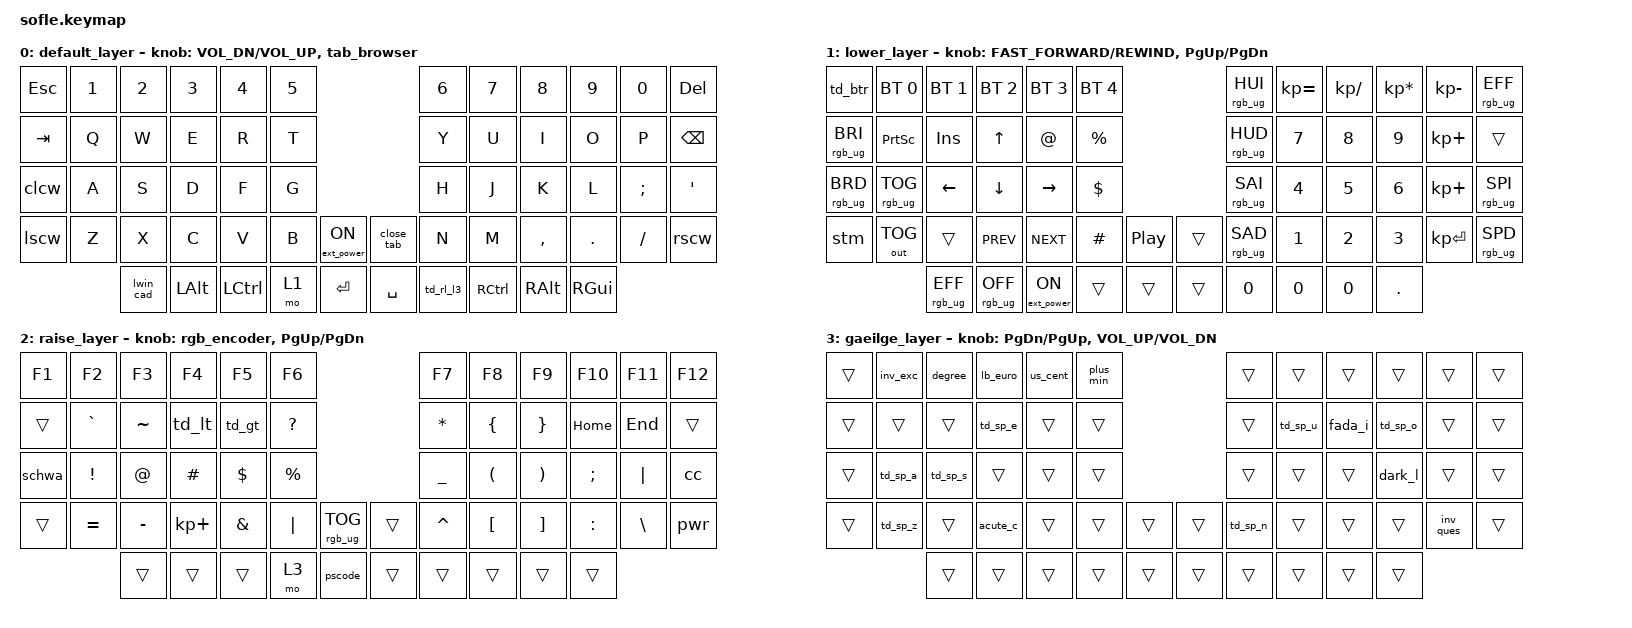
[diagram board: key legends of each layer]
/*
 * Copyright (c) 2020 The ZMK Contributors
 *
 * SPDX-License-Identifier: MIT
 */

#include <behaviors.dtsi>
#include <dt-bindings/zmk/bt.h>
#include <dt-bindings/zmk/ext_power.h>
#include <dt-bindings/zmk/keys.h>
#include <dt-bindings/zmk/outputs.h>
#include <dt-bindings/zmk/rgb.h>

//Encoder Support
//Alps Alpine EC11N1524402: 30 Detent, 15PPR, 2 Channel, Quadrature, 15000 Cycle

/
&led_strip {
    chain-length = <21>;
};
{
    left_encoder: encoder_left {
        compatible = "alps,ec11";
        label = "LEFT_ENCODER";
        a-gpios = <&pro_micro 21 (GPIO_ACTIVE_HIGH | GPIO_PULL_UP)>;
        b-gpios = <&pro_micro 20 (GPIO_ACTIVE_HIGH | GPIO_PULL_UP)>;
        steps = <60>;
    };

    right_encoder: encoder_right {
        compatible = "alps,ec11";
        label = "RIGHT_ENCODER";
        a-gpios = <&pro_micro 21 (GPIO_ACTIVE_HIGH | GPIO_PULL_UP)>;
        b-gpios = <&pro_micro 20 (GPIO_ACTIVE_HIGH | GPIO_PULL_UP)>;
        steps = <60>;
    };

    sensors {
        compatible = "zmk,keymap-sensors";
        sensors = <&left_encoder &right_encoder>;
        triggers-per-rotation = <30>;
    };
};

/ {
    macros {
        // System and Power

        tm: tm {
            label = "TASK_MANAGER";
            compatible = "zmk,behavior-macro";
            #binding-cells = <0>;
            bindings =
                <&macro_press>,
                <&kp LCTRL &kp LSHFT>,
                <&macro_tap>,
                <&kp ESC>,
                <&macro_release>,
                <&kp LCTRL &kp LSHFT>;
        };

        cad: cad {
            label = "CTRL_ALT_DEL";
            compatible = "zmk,behavior-macro";
            #binding-cells = <0>;
            bindings =
                <&macro_press>,
                <&kp LCTRL &kp LALT &kp DEL>,
                <&macro_release>,
                <&kp LCTRL &kp LALT &kp DEL>;
        };

        slp: slp {
            label = "SLEEP";
            compatible = "zmk,behavior-macro";
            #binding-cells = <0>;
            bindings =
                <&macro_press>,
                <&kp LGUI>,
                <&macro_tap>,
                <&kp X>,
                <&macro_release>,
                <&kp LGUI>,
                <&macro_tap>,
                <&kp U &kp S>;
        };

        rst: rst {
            label = "RESTART";
            compatible = "zmk,behavior-macro";
            #binding-cells = <0>;
            bindings =
                <&macro_press>,
                <&kp LGUI>,
                <&macro_tap>,
                <&kp X>,
                <&macro_release>,
                <&kp LGUI>,
                <&macro_tap>,
                <&kp U &kp R>;
        };

        off: off {
            label = "SHUTDOWN";
            compatible = "zmk,behavior-macro";
            #binding-cells = <0>;
            bindings =
                <&macro_press>,
                <&kp LGUI>,
                <&macro_tap>,
                <&kp X>,
                <&macro_release>,
                <&kp LGUI>,
                <&macro_tap>,
                <&kp U &kp U>;
        };

        // Microphones

        teams_mute: teams_mute {
            label = "TEAMS_MUTE";
            compatible = "zmk,behavior-macro";
            #binding-cells = <0>;
            tap-ms = <0>;
            wait-ms = <0>;
            bindings =
                <&macro_tap>,
                <&bt BT_SEL 1>,
                <&macro_wait_time 100>,
                <&macro_press>,
                <&kp LGUI>,
                <&macro_tap>,
                <&kp N3>,
                <&macro_release>,
                <&kp LGUI>,
                <&macro_wait_time 50>,
                <&macro_press>,
                <&kp LCTRL &kp LSHFT>,
                <&macro_tap>,
                <&kp M>,
                <&macro_release>,
                <&kp LCTRL &kp LSHFT>;
        };

        // Browser Controls

        tab_right: tab_right {
            label = "TAB_RIGHT";
            compatible = "zmk,behavior-macro";
            #binding-cells = <0>;
            wait-ms = <0>;
            tap-ms = <0>;
            bindings =
                <&macro_press>,
                <&kp LCTRL>,
                <&macro_tap>,
                <&kp TAB>,
                <&macro_release>,
                <&kp LCTRL>;
        };

        tab_left: tab_left {
            label = "TAB_LEFT";
            compatible = "zmk,behavior-macro";
            #binding-cells = <0>;
            wait-ms = <0>;
            tap-ms = <0>;
            bindings =
                <&macro_press>,
                <&kp LCTRL &kp LSHFT>,
                <&macro_tap>,
                <&kp TAB>,
                <&macro_release>,
                <&kp LCTRL &kp LSHFT>;
        };

        close_tab: close_tab {
            label = "CLOSE_TAB";
            compatible = "zmk,behavior-macro";
            #binding-cells = <0>;
            wait-ms = <0>;
            tap-ms = <0>;
            bindings =
                <&macro_press>,
                <&kp LCTRL>,
                <&macro_tap>,
                <&kp W>,
                <&macro_release>,
                <&kp LCTRL>;
        };

       
// Mod Morphs, Encoder, Tap-Dances

/ {
    behaviors {
        // Mod Morph
        // RGB

        rgb_bri_sat_inc: rgb_bri_sat_inc {
            compatible = "zmk,behavior-mod-morph";
            label = "RGB_BRIGHTNESS_SATURATION_INCREASE";
            #binding-cells = <0>;
            bindings = <&rgb_ug RGB_SAI>, <&rgb_ug RGB_BRI>;

            mods = <(MOD_LALT|MOD_RALT)>;
        };

        rgb_bri_sat_dec: rgb_bri_sat_dec {
            compatible = "zmk,behavior-mod-morph";
            label = "RGB_BRIGHTNESS_SATURATION_DECREASE";
            #binding-cells = <0>;
            bindings = <&rgb_ug RGB_SAD>, <&rgb_ug RGB_BRD>;

            mods = <(MOD_LALT|MOD_RALT)>;
        };

        rgb_inc: rgb_inc {
            compatible = "zmk,behavior-mod-morph";
            label = "RGB_INCREASE";
            #binding-cells = <0>;
            bindings = <&rgb_ug RGB_HUI>, <&rgb_bri_sat_inc>;

            mods = <(MOD_LSFT|MOD_RSFT|MOD_LCTL|MOD_RCTL)>;
        };

        rgb_dec: rgb_dec {
            compatible = "zmk,behavior-mod-morph";
            label = "RGB_DECREASE";
            #binding-cells = <0>;
            bindings = <&rgb_ug RGB_HUD>, <&rgb_bri_sat_dec>;

            mods = <(MOD_LSFT|MOD_RSFT)>;
        };

        // System Functions  

        ret_menu: ret_menu {
            compatible = "zmk,behavior-mod-morph";
            label = "RETURN_MENU";
            #binding-cells = <0>;
            bindings = <&kp RET>, <&kp K_APPLICATION>;

            mods = <(MOD_LSFT|MOD_RSFT)>;
        };

        // Special Characters - Capitalizations

        fada_a: fada_a {
            compatible = "zmk,behavior-mod-morph";
            label = "FADA_A";
            #binding-cells = <0>;
            bindings = <&smfada_a>, <&lfada_a>;

            mods = <(MOD_LSFT|MOD_RSFT)>;
        };

        ogonek_a: ogonek_a {
            compatible = "zmk,behavior-mod-morph";
            label = "OGONEK_A";
            #binding-cells = <0>;
            bindings = <&smogo_a>, <&logo_a>;

            mods = <(MOD_LSFT|MOD_RSFT)>;
        };

        umlaut_a: umlaut_a {
            compatible = "zmk,behavior-mod-morph";
            label = "UMLAUT_A";
            #binding-cells = <0>;
            bindings = <&smumlaut_a>, <&lumlaut_a>;

            mods = <(MOD_LSFT|MOD_RSFT)>;
        };

        fada_e: fada_e {
            compatible = "zmk,behavior-mod-morph";
            label = "FADA_E";
            #binding-cells = <0>;
            bindings = <&smfada_e>, <&lfada_e>;

            mods = <(MOD_LSFT|MOD_RSFT)>;
        };

        ogonek_e: ogonek_e {
            compatible = "zmk,behavior-mod-morph";
            label = "OGONEK_E";
            #binding-cells = <0>;
            bindings = <&smogo_e>, <&logo_e>;

            mods = <(MOD_LSFT|MOD_RSFT)>;
        };

        fada_i: fada_i {
            compatible = "zmk,behavior-mod-morph";
            label = "FADA_I";
            #binding-cells = <0>;
            bindings = <&smfada_i>, <&lfada_i>;

            mods = <(MOD_LSFT|MOD_RSFT)>;
        };

        fada_o: fada_o {
            compatible = "zmk,behavior-mod-morph";
            label = "FADA_O";
            #binding-cells = <0>;
            bindings = <&smfada_o>, <&lfada_o>;

            mods = <(MOD_LSFT|MOD_RSFT)>;
        };

        umlaut_o: umlaut_o {
            compatible = "zmk,behavior-mod-morph";
            label = "UMLAUT_O";
            #binding-cells = <0>;
            bindings = <&smumlaut_o>, <&lumlaut_o>;

            mods = <(MOD_LSFT|MOD_RSFT)>;
        };

        fada_u: fada_u {
            compatible = "zmk,behavior-mod-morph";
            label = "FADA_U";
            #binding-cells = <0>;
            bindings = <&smfada_u>, <&lfada_u>;

            mods = <(MOD_LSFT|MOD_RSFT)>;
        };

        umlaut_u: umlaut_u {
            compatible = "zmk,behavior-mod-morph";
            label = "UMLAUT_U";
            #binding-cells = <0>;
            bindings = <&smumlaut_u>, <&lumlaut_u>;

            mods = <(MOD_LSFT|MOD_RSFT)>;
        };

        acute_c: acute_c {
            compatible = "zmk,behavior-mod-morph";
            label = "ACUTE_C";
            #binding-cells = <0>;
            bindings = <&smacute_c>, <&lacute_c>;

            mods = <(MOD_LSFT|MOD_RSFT)>;
        };

        dark_l: dark_l {
            compatible = "zmk,behavior-mod-morph";
            label = "DARK_L";
            #binding-cells = <0>;
            bindings = <&smdark_l>, <&ldark_l>;

            mods = <(MOD_LSFT|MOD_RSFT)>;
        };

        acute_n: acute_n {
            compatible = "zmk,behavior-mod-morph";
            label = "ACUTE_N";
            #binding-cells = <0>;
            bindings = <&smacute_n>, <&lacute_n>;

            mods = <(MOD_LSFT|MOD_RSFT)>;
        };

        tilde_n: tilde_n {
            compatible = "zmk,behavior-mod-morph";
            label = "TILDE_N";
            #binding-cells = <0>;
            bindings = <&smtil_n>, <&ltil_n>;

            mods = <(MOD_LSFT|MOD_RSFT)>;
        };

        acute_s: acute_s {
            compatible = "zmk,behavior-mod-morph";
            label = "ACUTE_S";
            #binding-cells = <0>;
            bindings = <&smacute_s>, <&lacute_s>;

            mods = <(MOD_LSFT|MOD_RSFT)>;
        };

        acute_z: acute_z {
            compatible = "zmk,behavior-mod-morph";
            label = "ACUTE_Z";
            #binding-cells = <0>;
            bindings = <&smacute_z>, <&lacute_z>;

            mods = <(MOD_LSFT|MOD_RSFT)>;
        };

        dot_z: dot_z {
            compatible = "zmk,behavior-mod-morph";
            label = "DOT_Z";
            #binding-cells = <0>;
            bindings = <&smdot_z>, <&ldot_z>;

            mods = <(MOD_LSFT|MOD_RSFT)>;
        };

        // Special Characters - Other

        lb_euro: lb_euro {
            compatible = "zmk,behavior-mod-morph";
            label = "POUND_EURO";
            #binding-cells = <0>;
            bindings = <&uk_pnd>, <&euro>;

            mods = <(MOD_LSFT|MOD_RSFT)>;
        };

        // Encoder

        rgb_encoder: rgb_encoder {
            compatible = "zmk,behavior-sensor-rotate";
            label = "RGB_ENCODER";
            #sensor-binding-cells = <0>;
            bindings = <&rgb_inc>, <&rgb_dec>;
        };

        tab_browser: tab_browser {
            compatible = "zmk,behavior-sensor-rotate";
            label = "TAB_BROWSER";
            #sensor-binding-cells = <0>;
            bindings = <&tab_left>, <&tab_right>;
        };

        // Tap Dance

        cc: cc {
            compatible = "zmk,behavior-tap-dance";
            label = "COLOR_CYCLE";
            #binding-cells = <0>;
            tapping-term-ms = <200>;
            bindings =
                <&rgb_ug RGB_COLOR_HSB(0,100,20)>,
                <&rgb_ug RGB_COLOR_HSB(10,100,20)>,
                <&rgb_ug RGB_COLOR_HSB(35,100,20)>,
                <&rgb_ug RGB_COLOR_HSB(120,100,20)>,
                <&rgb_ug RGB_COLOR_HSB(240,100,20)>,
                <&rgb_ug RGB_COLOR_HSB(285,100,20)>;
        };

        clcw: clcw {
            compatible = "zmk,behavior-tap-dance";
            label = "CAPS_LOCK_CAPS_WORD";
            #binding-cells = <0>;
            tapping-term-ms = <200>;
            bindings = <&kp CLCK>, <&caps_word>;
        };

        lscw: lscw {
            compatible = "zmk,behavior-tap-dance";
            label = "LEFT_SHIFT_CAPS_WORD";
            #binding-cells = <0>;
            tapping-term-ms = <200>;
            bindings = <&kp LSHFT>, <&caps_word>;
        };

        rscw: rscw {
            compatible = "zmk,behavior-tap-dance";
            label = "RIGHT_SHIFT_CAPS_WORD";
            #binding-cells = <0>;
            tapping-term-ms = <200>;
            bindings = <&kp RSHFT>, <&caps_word>;
        };

        stm: stm {
            compatible = "zmk,behavior-tap-dance";
            label = "SHIFT_TASK_MANAGER";
            #binding-cells = <0>;
            tapping-term-ms = <200>;
            bindings = <&kp LSHFT>, <&tm>;
        };

        pwr: pwr {
            compatible = "zmk,behavior-tap-dance";
            label = "POWER_COMMANDS";
            #binding-cells = <0>;
            tapping-term-ms = <200>;
            bindings = <&kp RSHFT>, <&slp>, <&rst>, <&off>;
        };

        td_btr: td_btr {
            compatible = "zmk,behavior-tap-dance";
            label = "TAP_DANCE_BLUE_TOOTH_RELEASE";
            #binding-cells = <0>;
            tapping-term-ms = <200>;
            bindings = <&kp ESC>, <&bt BT_CLR>;
        };

        pscode: pscode {
            compatible = "zmk,behavior-tap-dance";
            label = "POWER_SHELL_CODE";
            #binding-cells = <0>;
            tapping-term-ms = <200>;
            bindings = <&kp F5>, <&kp F8>;
        };

        td_ll_l3: td_ll_l3 {
            compatible = "zmk,behavior-tap-dance";
            label = "TAP_LEFT_LAYER_LAYER_3";
            #binding-cells = <0>;
            tapping-term-ms = <200>;
            bindings = <&mo 1>, <&sl 3>;
        };

        td_rl_l3: td_rl_l3 {
            compatible = "zmk,behavior-tap-dance";
            label = "TAP_RIGHT_LAYER_LAYER_3";
            #binding-cells = <0>;
            tapping-term-ms = <200>;
            bindings = <&mo 2>, <&sl 3>;
        };

        td_sp_a: td_sp_a {
            compatible = "zmk,behavior-tap-dance";
            label = "TAP_SPECIAL_A";
            #binding-cells = <0>;
            tapping-term-ms = <250>;
            bindings = <&fada_a>, <&ogonek_a>, <&umlaut_a>;
        };

        td_sp_e: td_sp_e {
            compatible = "zmk,behavior-tap-dance";
            label = "TAP_SPECIAL_E";
            #binding-cells = <0>;
            tapping-term-ms = <250>;
            bindings = <&fada_e>, <&ogonek_e>;
        };

        td_sp_o: td_sp_o {
            compatible = "zmk,behavior-tap-dance";
            label = "TAP_SPECIAL_O";
            #binding-cells = <0>;
            tapping-term-ms = <250>;
            bindings = <&fada_o>, <&umlaut_o>;
        };

        td_sp_u: td_sp_u {
            compatible = "zmk,behavior-tap-dance";
            label = "TAP_SPECIAL_U";
            #binding-cells = <0>;
            tapping-term-ms = <250>;
            bindings = <&fada_u>, <&umlaut_u>;
        };

        td_sp_n: td_sp_n {
            compatible = "zmk,behavior-tap-dance";
            label = "TAP_SPECIAL_N";
            #binding-cells = <0>;
            tapping-term-ms = <250>;
            bindings = <&acute_n>, <&tilde_n>;
        };

        td_sp_s: td_sp_s {
            compatible = "zmk,behavior-tap-dance";
            label = "TAP_SPECIAL_S";
            #binding-cells = <0>;
            tapping-term-ms = <200>;
            bindings = <&acute_s>, <&essette_s>;
        };

        td_sp_z: td_sp_z {
            compatible = "zmk,behavior-tap-dance";
            label = "TAP_SPECIAL_Z";
            #binding-cells = <0>;
            tapping-term-ms = <200>;
            bindings = <&acute_z>, <&dot_z>;
        };

        td_lt: td_lt {
            compatible = "zmk,behavior-tap-dance";
            label = "LESS_THEN_DOUBLE_LEFT_MARKS";
            #binding-cells = <0>;
            tapping-term-ms = <200>;
            bindings = <&kp LT>, <&dbl_left>;
        };

        td_gt: td_gt {
            compatible = "zmk,behavior-tap-dance";
            label = "GREATER_THAN_DOUBLE_RIGHT_MARKS";
            #binding-cells = <0>;
            tapping-term-ms = <200>;
            bindings = <&kp GT>, <&dbl_right>;
        };

        lwin_cad: lwin_cad {
            compatible = "zmk,behavior-tap-dance";
            label = "LEFT_WINDOWS_CTRL_ALT_DEL";
            #binding-cells = <0>;
            tapping-term-ms = <200>;
            bindings = <&kp LGUI>, <&cad>;
        };
    };

    keymap {
        compatible = "zmk,keymap";

        default_layer {
            // ------------------------------------------------------------------------------------------------------------
            // |  ESC  |  1  |  2  |  3   |  4   |  5   |                    |  6   |  7    |  8    |  9   |   0   | DEL   |
            // |  TAB  |  Q  |  W  |  E   |  R   |  T   |                    |  Y   |  U    |  I    |  O   |   P   | BKSPC |
            // | CAPS  |  A  |  S  |  D   |  F   |  G   |                    |  H   |  J    |  K    |  L   |   ;   |   '   |
            // | SHIFT |  Z  |  X  |  C   |  V   |  B   |MUTE SPK|  |ClS  TAB|  N   |  M    |  ,    |  .   |   /   | SHIFT |
            //               | GUI | ALT  | CTRL | LOWER|  ENTER |  | SPACE  | RAISE| CTRL  | ALT   | GUI  |

            bindings = <
&kp ESC  &kp N1  &kp N2     &kp N3    &kp N4     &kp N5                                  &kp N6     &kp N7     &kp N8     &kp N9    &kp N0    &kp DEL
&kp TAB  &kp Q   &kp W      &kp E     &kp R      &kp T                                   &kp Y      &kp U      &kp I      &kp O     &kp P     &kp BSPC
&clcw    &kp A   &kp S      &kp D     &kp F      &kp G                                   &kp H      &kp J      &kp K      &kp L     &kp SEMI  &kp SQT
&lscw    &kp Z   &kp X      &kp C     &kp V      &kp B   &ext_power EP_ON    &close_tab  &kp N      &kp M      &kp COMMA  &kp DOT   &kp FSLH  &rscw
                 &lwin_cad  &kp LALT  &kp LCTRL  &mo 1   &kp ENTER           &kp SPACE   &td_rl_l3  &kp RCTRL  &kp RALT   &kp RGUI
            >;

            sensor-bindings = <&inc_dec_kp C_VOL_DN C_VOL_UP>, <&tab_browser>;
        };

        lower_layer {
            // ------------------------------------------------------------------------------------------------------------
            // |BTCLR| BT1  | BT2  |  BT3  |  BT4  |  BT5 |                | HUE+ |  =  |   /   |   *  |   -   | EFF+ |
            // |BRI+ | PSCR | INS  |   ↑   |   @   |   %  |                | HUE- |  7  |   8   |   9  |   +   | BKSP |
            // |BRI- | RGB  |  ←   |   ↓   |   →   |   $  |                | SAT+ |  4  |   5   |   6  |   +   | SPD+ |
            // |TASK |BT/USB|      |  PREV |  NEXT |   #  |PL/PS |  |      | SAT- |  1  |   2   |   3  | ENTER | SPD- |
            //              |      |       |       |      |      |  |      |  0   |  0  |   0   |   .  |

            bindings = <
&td_btr          &bt BT_SEL 0     &bt BT_SEL 1     &bt BT_SEL 2     &bt BT_SEL 3      &bt BT_SEL 4                              &rgb_ug RGB_HUI  &kp KP_EQUAL  &kp KP_DIVIDE  &kp KP_MULTIPLY  &kp KP_MINUS  &rgb_ug RGB_EFF
&rgb_ug RGB_BRI  &kp PSCRN        &kp INS          &kp UP           &kp AT            &kp PRCNT                                 &rgb_ug RGB_HUD  &kp N7        &kp N8         &kp N9           &kp KP_PLUS   &trans
&rgb_ug RGB_BRD  &rgb_ug RGB_TOG  &kp LEFT         &kp DOWN         &kp RIGHT         &kp DLLR                                  &rgb_ug RGB_SAI  &kp N4        &kp N5         &kp N6           &kp KP_PLUS   &rgb_ug RGB_SPI
&stm             &out OUT_TOG     &trans           &kp C_PREV       &kp C_NEXT        &kp HASH      &kp C_PLAY_PAUSE    &trans  &rgb_ug RGB_SAD  &kp N1        &kp N2         &kp N3           &kp KP_ENTER  &rgb_ug RGB_SPD
                                  &rgb_ug RGB_EFF  &rgb_ug RGB_OFF  &ext_power EP_ON  &trans        &trans              &trans  &kp N0           &kp N0        &kp N0         &kp DOT
            >;

            sensor-bindings = <&inc_dec_kp C_FAST_FORWARD C_REWIND &inc_dec_kp PG_UP PG_DN>;
        };

        raise_layer {
            // TODO: Some binds are waiting for shifted keycode support.
            // ------------------------------------------------------------------------------------------------------------
            // |    F1 |  F2 |  F3 |  F4  |  F5  |  F6  |                   |  F7  |  F8   |  F9   |  F10 |  F11  |  F12  |
            // |       |  `  |  ~  |  <   |  >   |  ?   |                   |  *   |  {    |  }    | HOME |  END  |       |
            // |       |  !  |  @  |  #   |  $   |  %   |                   |  _   |  (    |  )    |  ;   |   |   | COLOR |
            // |       |  =  |  -  |  +   |  &   |  |   |  RGB   |  |       |  ^   |  [    |  ]    |  :   |   \   | POWER |
            //               |     |      |      |      |  CODE  |  |       |      |       |       |      |

            bindings = <
&kp F1  &kp F2     &kp F3     &kp F4       &kp F5    &kp F6                                &kp F7     &kp F8    &kp F9    &kp F10    &kp F11   &kp F12
&trans  &kp GRAVE  &kp TILDE  &td_lt       &td_gt    &kp QMARK                             &kp ASTRK  &kp LBRC  &kp RBRC  &kp HOME   &kp END   &trans
&schwa  &kp EXCL   &kp AT     &kp HASH     &kp DLLR  &kp PRCNT                             &kp UNDER  &kp LPAR  &kp RPAR  &kp SEMI   &kp PIPE  &cc
&trans  &kp EQUAL  &kp MINUS  &kp KP_PLUS  &kp AMPS  &kp PIPE   &rgb_ug RGB_TOG    &trans  &kp CARET  &kp LBKT  &kp RBKT  &kp COLON  &kp BSLH  &pwr
                   &trans     &trans       &trans    &mo 3      &pscode            &trans  &trans     &trans    &trans    &trans
            >;

            sensor-bindings = <&rgb_encoder &inc_dec_kp PG_UP PG_DN>;
        };

        gaeilge_layer {
            // TODO: Some binds are waiting for shifted keycode support.
            // ------------------------------------------------------------------------------------------------------------
            // |       |  ¡  |  °  |  £   |  ¢   |   ±  |                   |      |       |       |      |       |       |
            // |       |     |     |  é   |      |      |                   |      |   ú   |   í   |   ó  |       |       |
            // |       |  á  |  ś  |      |      |      |                   |      |       |       |   ł  |       |       |
            // |       |  ź  |     |  ć   |      |      |        |  |       |  ń   |       |       |      |   ¿   |       |
            //               |     |      |      |      |        |  |       |      |       |       |      |

            bindings = <
&trans  &inv_exc  &degree   &lb_euro  &us_cent  &plus_min                    &trans    &trans    &trans   &trans    &trans     &trans
&trans  &trans    &trans    &td_sp_e  &trans    &trans                       &trans    &td_sp_u  &fada_i  &td_sp_o  &trans     &trans
&trans  &td_sp_a  &td_sp_s  &trans    &trans    &trans                       &trans    &trans    &trans   &dark_l   &trans     &trans
&trans  &td_sp_z  &trans    &acute_c  &trans    &trans     &trans    &trans  &td_sp_n  &trans    &trans   &trans    &inv_ques  &trans
                  &trans    &trans    &trans    &trans     &trans    &trans  &trans    &trans    &trans   &trans
            >;

            sensor-bindings = <&inc_dec_kp PG_DN PG_UP &inc_dec_kp C_VOL_UP C_VOL_DN>;
        };
    };
};
